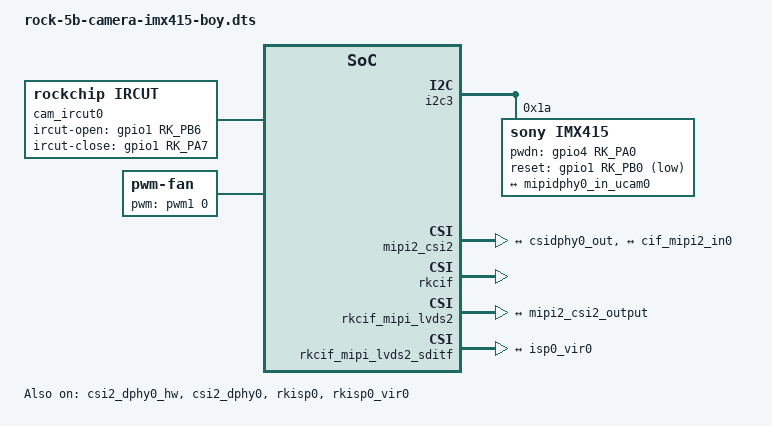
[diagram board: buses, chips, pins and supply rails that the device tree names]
// ROCK 5A/5B Camera IMX415 与 rock-5b-camera-imx415-boy.dts相同
/dts-v1/;
/plugin/;

#include <dt-bindings/clock/rk3588-cru.h>
#include <dt-bindings/power/rk3588-power.h>
#include <dt-bindings/gpio/gpio.h>
#include <dt-bindings/pinctrl/rockchip.h>

/ {
	fragment@0 {
		target-path = "/";

		__overlay__ {
			cam_ircut0: cam_ircut {
				status = "okay";
				compatible = "rockchip,ircut";
				ircut-open-gpios = <&gpio1 RK_PB6 GPIO_ACTIVE_HIGH>;
				ircut-close-gpios  = <&gpio1 RK_PA7 GPIO_ACTIVE_HIGH>;
				rockchip,camera-module-index = <0>;
				rockchip,camera-module-facing = "back";
			};
			fan: pwm-fan {
				status = "okay";
				compatible = "pwm-fan";
				#cooling-cells = <2>;
				pwms = <&pwm1 0 10000 0>;
				cooling-levels = <0 128 130 132 135 150>;
				rockchip,temp-trips = <
					50000	1
					55000	2
					60000	3
					65000	4
					70000	5
				>;
			};
		};
	};

	fragment@1 {
		target = <&i2c3>;

		__overlay__ {
			status = "okay";
			#address-cells = <1>;
			#size-cells = <0>;

			imx415: imx415@1a {
				status = "okay";
				compatible = "sony,imx415";
				reg = <0x1a>;
				clocks = <&cru CLK_MIPI_CAMARAOUT_M3>;
				clock-names = "xvclk";
				pinctrl-names = "default";
				pinctrl-0 = <&mipim0_camera3_clk>;
				power-domains = <&power RK3588_PD_VI>;
				pwdn-gpios = <&gpio4 RK_PA0 GPIO_ACTIVE_HIGH>;
				reset-gpios = <&gpio1 RK_PB0 GPIO_ACTIVE_LOW>;
				lens-focus = <&cam_ircut0>;
				rockchip,camera-module-index = <0>;
				rockchip,camera-module-facing = "back";
				rockchip,camera-module-name = "CMK-OT2022-PX1";
				rockchip,camera-module-lens-name = "IR0147-50IRC-8M-F20";
				port {
					imx415_out0: endpoint {
						remote-endpoint = <&mipidphy0_in_ucam0>;
						data-lanes = <1 2 3 4>;
					};
				};
			};
		};
	};

	fragment@2 {
		target = <&csi2_dphy0_hw>;

		__overlay__ {
			status = "okay";
		};
	};

	fragment@3 {
		target = <&csi2_dphy0>;

		__overlay__ {
			status = "okay";

			ports {
				#address-cells = <1>;
				#size-cells = <0>;

				port@0 {
					reg = <0>;
					#address-cells = <1>;
					#size-cells = <0>;

					mipidphy0_in_ucam0: endpoint@1 {
						reg = <1>;
						remote-endpoint = <&imx415_out0>;
						data-lanes = <1 2 3 4>;
					};
				};

				port@1 {
					reg = <1>;
					#address-cells = <1>;
					#size-cells = <0>;

					csidphy0_out: endpoint@0 {
						reg = <0>;
						remote-endpoint = <&mipi2_csi2_input>;
					};
				};
			};
		};
	};

	fragment@4 {
		target = <&mipi2_csi2>;

		__overlay__ {
			status = "okay";

			ports {
				#address-cells = <1>;
				#size-cells = <0>;

				port@0 {
					reg = <0>;
					#address-cells = <1>;
					#size-cells = <0>;

					mipi2_csi2_input: endpoint@1 {
						reg = <1>;
						remote-endpoint = <&csidphy0_out>;
					};
				};

				port@1 {
					reg = <1>;
					#address-cells = <1>;
					#size-cells = <0>;

					mipi2_csi2_output: endpoint@0 {
						reg = <0>;
						remote-endpoint = <&cif_mipi2_in0>;
					};
				};
			};
		};
	};

	fragment@5 {
		target = <&rkcif>;

		__overlay__ {
			status = "okay";
		};
	};

	fragment@6 {
		target = <&rkcif_mipi_lvds2>;

		__overlay__ {
			status = "okay";

			port {
				cif_mipi2_in0: endpoint {
					remote-endpoint = <&mipi2_csi2_output>;
				};
			};
		};
	};

	fragment@7 {
		target = <&rkcif_mipi_lvds2_sditf>;

		__overlay__ {
			status = "okay";

			port {
				mipi_lvds2_sditf: endpoint {
					remote-endpoint = <&isp0_vir0>;
				};
			};
		};
	};

	fragment@8 {
		target = <&rkcif_mmu>;

		__overlay__ {
			status = "okay";
		};
	};

	fragment@9 {
		target = <&isp0_mmu>;

		__overlay__ {
			status = "okay";
		};
	};

	fragment@10 {
		target = <&rkisp0>;

		__overlay__ {
			status = "okay";
		};
	};

	fragment@11 {
		target = <&rkisp0_vir0>;

		__overlay__ {
			status = "okay";

			port {
				#address-cells = <1>;
				#size-cells = <0>;

				isp0_vir0: endpoint@0 {
					reg = <0>;
					remote-endpoint = <&mipi_lvds2_sditf>;
				};
			};
		};
	};
};

